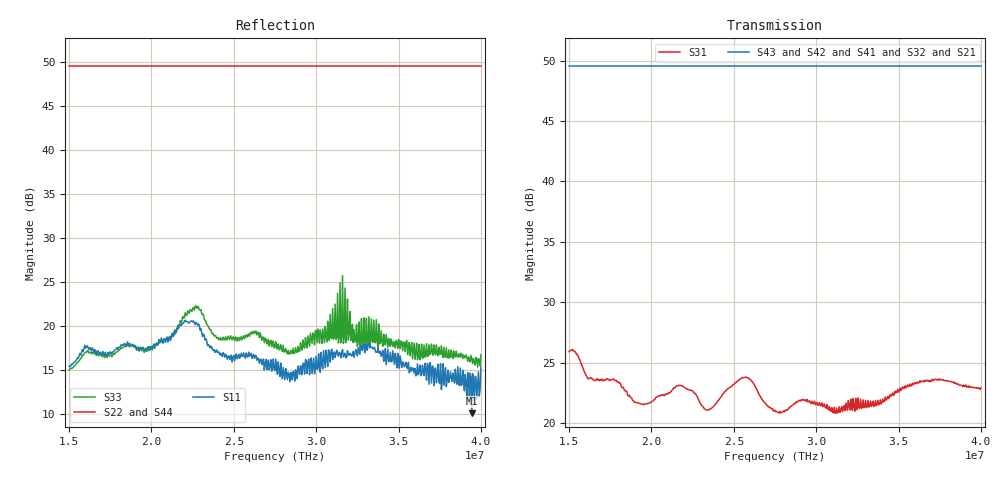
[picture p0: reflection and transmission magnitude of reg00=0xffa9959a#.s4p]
#6203912!Ceyear Technologies,3672E,ZKJ00317,2.1.6
!Calibration ON : 4P/1,2,3,4
!Balanced Topology: BBAL
!Sweep Type: lin Frequency Sweep
!S4P File: Measurements: <Sdd11, Sdc11, Sdd12, Sdc12>,
!<Scd11, Scc11, Scd12, Scc12>,
!<Sdd21, Sdc21, Sdd22, Sdc22>,
!<Scd21, Scc21, Scd22, Scc22>:
!Friday, March 01, 2024  15 : 08
! # Hz  S  dB  R 50.000
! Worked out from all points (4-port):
!   501 points, 1.5e+07 THz to 4e+07 THz, reference 50 ohm
!   strongest paths, dB at 1.5e+07 THz, 2.125e+07 THz, 2.75e+07 THz, 3.375e+07 THz, 4e+07 THz:
!     S43: 49.5, 49.5, 49.5, 49.5, 49.5
!     S42: 49.5, 49.5, 49.5, 49.5, 49.5
!     S41: 49.5, 49.5, 49.5, 49.5, 49.5
!     S32: 49.5, 49.5, 49.5, 49.5, 49.5
!     S21: 49.5, 49.5, 49.5, 49.5, 49.5
!     S31: 25.9, 22.7, 21.1, 21.9, 22.9
!   lowest |S11| = 10.1 dB at 3.945e+07 THz (marker M1)
!   |S11| at or under -10 dB: nowhere
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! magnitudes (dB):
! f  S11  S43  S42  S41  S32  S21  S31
! 1.5e+07 THz  15.5  49.5  49.5  49.5  49.5  49.5  25.9
! 2.275e+07 THz  20.4  49.5  49.5  49.5  49.5  49.5  22.2
! 2.405e+07 THz  17.1  49.5  49.5  49.5  49.5  49.5  21.9
! 2.83e+07 THz  14.8  49.5  49.5  49.5  49.5  49.5  21.1
! 3.15e+07 THz  16.4  49.5  49.5  49.5  49.5  49.5  21.1
! 3.945e+07 THz  10.1  49.5  49.5  49.5  49.5  49.5  22.9
! 4e+07 THz  15.4  49.5  49.5  49.5  49.5  49.5  22.9
